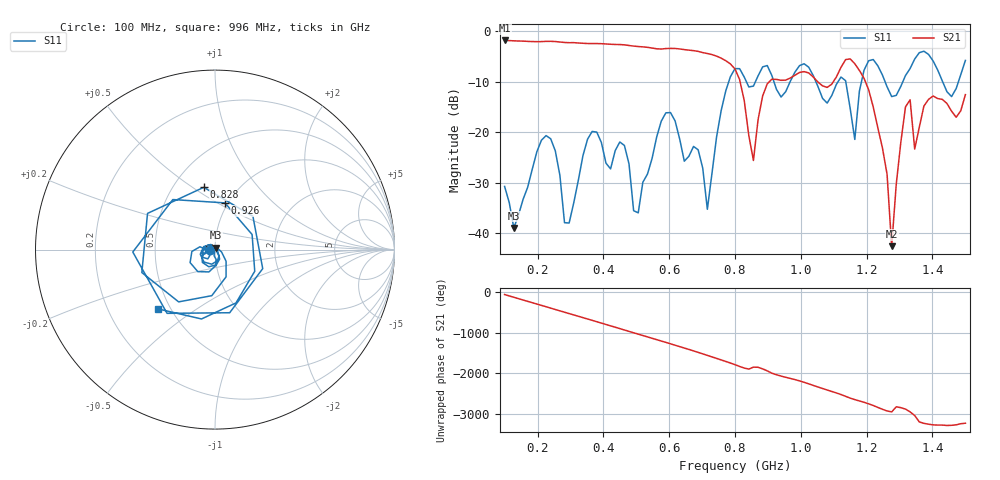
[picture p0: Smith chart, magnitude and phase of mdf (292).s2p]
! NanoVNA-App
! Date: 2025-09-25 15:40:42
! Start: 100MHz Stop: 1,5GHz Points: 101
! S-Parameter data: F S11 S21 S12 S22
# Hz S RI R 50
!  Frequency  S11_Real  S11_Imag  S21_Real  S21_Imag  S12_Real  S12_Imag  S22_Real  S22_Imag
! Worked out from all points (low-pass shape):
!   101 points, 100 MHz to 1.5 GHz, reference 50 ohm
!   highest |S21| = -1.80 dB at 100 MHz (marker M1); lowest = -42.6 dB at 1.276 GHz (marker M2)
!   |S21| within 3 dB of the highest: start of sweep to 739.1 MHz
!   lowest |S11| = -39.0 dB at 128 MHz (marker M3), VSWR 1.02, Z = 50.3 + j1.07 ohm
!   |S11| at or under -10 dB: start of sweep to 781 MHz; 1.046 GHz to 1.113 GHz (67.18 MHz wide, 6.22 % of centre); 1.256 GHz to 1.31 GHz (53.83 MHz wide, 4.2 % of centre) (the widest 3 of 7)
!   S12 and S22 are empty: the file has one direction only
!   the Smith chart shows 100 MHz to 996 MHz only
!   S11 on the Smith chart (normalised r, x): 100 MHz: 0.94, -0.01; 828 MHz: 0.70, +0.56; 926 MHz: 0.97, +0.54; 996 MHz: 0.43, -0.36
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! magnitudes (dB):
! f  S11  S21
! 100 MHz  -30.8  -1.8
! 128 MHz  -39.0  -1.9
! 212 MHz  -21.6  -2.0
! 282 MHz  -38.0  -2.2
! 338 MHz  -24.7  -2.4
! 464 MHz  -22.6  -2.7
! 506 MHz  -36.0  -3.0
! 576 MHz  -17.8  -3.5
! 716 MHz  -35.3  -4.4
! 800 MHz  -7.4  -7.5
! 828 MHz  -9.1  -13.7
! 856 MHz  -10.9  -25.6
! 926 MHz  -11.5  -9.5
! 996 MHz  -6.8  -8.2
! 1.038 GHz  -8.8  -9.1
! 1.136 GHz  -9.8  -5.6
! 1.164 GHz  -21.4  -6.4
! 1.192 GHz  -7.7  -9.3
! 1.276 GHz  -12.9  -42.6
! 1.318 GHz  -8.8  -15.0
! 1.346 GHz  -5.5  -23.4
! 1.5 GHz  -5.8  -12.6
